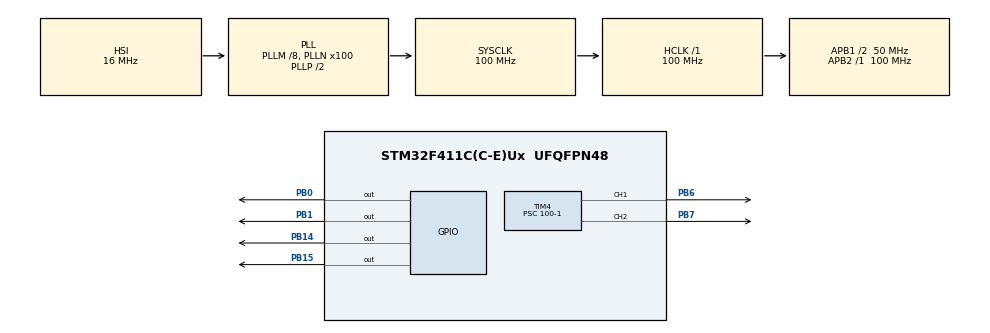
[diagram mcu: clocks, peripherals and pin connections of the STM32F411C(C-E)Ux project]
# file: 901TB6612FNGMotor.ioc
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Mcu.Family=STM32F4
Mcu.Name=STM32F411C(C-E)Ux
Mcu.Package=UFQFPN48
NVIC.PriorityGroup=NVIC_PRIORITYGROUP_4
PA13.Mode=Serial_Wire
PA13.Signal=SYS_JTMS-SWDIO
PA14.Mode=Serial_Wire
PA14.Signal=SYS_JTCK-SWCLK
PB0.Signal=GPIO_Output
PB1.Signal=GPIO_Output
PB14.Signal=GPIO_Output
PB15.Signal=GPIO_Output
PB6.Signal=S_TIM4_CH1
PB7.Signal=S_TIM4_CH2
ProjectManager.HeapSize=0x200
ProjectManager.StackSize=0x400
ProjectManager.TargetToolchain=STM32CubeIDE
RCC.48MHZClocksFreq_Value=50000000
RCC.AHBFreq_Value=100000000
RCC.APB1CLKDivider=RCC_HCLK_DIV2
RCC.APB1Freq_Value=50000000
RCC.APB1TimFreq_Value=100000000
RCC.APB2Freq_Value=100000000
RCC.APB2TimFreq_Value=100000000
RCC.CortexFreq_Value=100000000
RCC.HCLKFreq_Value=100000000
RCC.HSE_VALUE=25000000
RCC.HSI_VALUE=16000000
RCC.LSE_VALUE=32768
RCC.PLLM=8
RCC.PLLN=100
RCC.SYSCLKFreq_VALUE=100000000
RCC.SYSCLKSource=RCC_SYSCLKSOURCE_PLLCLK
RCC.VCOOutputFreq_Value=200000000
SH.S_TIM4_CH1.0=TIM4_CH1,PWM Generation1 CH1
SH.S_TIM4_CH2.0=TIM4_CH2,PWM Generation2 CH2
TIM4.AutoReloadPreload=TIM_AUTORELOAD_PRELOAD_ENABLE
TIM4.Channel-PWM\ Generation1\ CH1=TIM_CHANNEL_1
TIM4.Channel-PWM\ Generation2\ CH2=TIM_CHANNEL_2
TIM4.Period=20000-1
TIM4.Prescaler=100-1
VP_TIM4_VS_ClockSourceINT.Mode=Internal
board=custom

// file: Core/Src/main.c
/* USER CODE BEGIN Header */
/**
  ******************************************************************************
  * @file           : main.c
  * @brief          : Main program body
  ******************************************************************************
  * @attention
  *
  * Copyright (c) 2025 STMicroelectronics.
  * All rights reserved.
  *
  * This software is licensed under terms that can be found in the LICENSE file
  * in the root directory of this software component.
  * If no LICENSE file comes with this software, it is provided AS-IS.
  *
  ******************************************************************************
  */
/* USER CODE END Header */
#include "main.h"

TIM_HandleTypeDef htim4;

void SystemClock_Config(void);
static void MX_GPIO_Init(void);
static void MX_TIM4_Init(void);

/* USER CODE BEGIN 0 */
/**
 * @brief Controla el motor derecho.
 * @param velocidad: de -100 (marcha atrás) a 100 (hacia adelante). 0 para frenar.
 */
#define MIN_FREQ 500
#define MAX_FREQ 20000
uint32_t map_esc_values(uint32_t au32_IN, uint32_t au32_INmin, uint32_t au32_INmax, uint32_t au32_OUTmin, uint32_t au32_OUTmax)
{
    return ((((au32_IN - au32_INmin)*(au32_OUTmax - au32_OUTmin))/(au32_INmax - au32_INmin)) + au32_OUTmin);
}

void motor_derecho(int velocidad)
{
  if (velocidad > 0) // Hacia adelante
  {
    HAL_GPIO_WritePin(GPIOB, GPIO_PIN_1, GPIO_PIN_SET);   // AIN1 HIGH
    HAL_GPIO_WritePin(GPIOB, GPIO_PIN_0, GPIO_PIN_RESET); // AIN2 LOW
  }
  else if (velocidad < 0) // Marcha atrás
  {
    HAL_GPIO_WritePin(GPIOB, GPIO_PIN_1, GPIO_PIN_RESET); // AIN1 LOW
    HAL_GPIO_WritePin(GPIOB, GPIO_PIN_0, GPIO_PIN_SET);   // AIN2 HIGH
  }
  else // Frenar
  {
    HAL_GPIO_WritePin(GPIOB, GPIO_PIN_1, GPIO_PIN_SET);   // AIN1 HIGH
    HAL_GPIO_WritePin(GPIOB, GPIO_PIN_0, GPIO_PIN_SET);   // AIN2 HIGH
  }

//   Calculamos el valor del pulso (0-99) basado en la velocidad (0-100)
  uint32_t pulso = map_esc_values(abs(velocidad), 0, 100, MIN_FREQ, MAX_FREQ);
  __HAL_TIM_SET_COMPARE(&htim4, TIM_CHANNEL_1, pulso);
//  TIM4->CCR1 = map_esc_values(velocidad, 0, 100, 0, 6545); // Map The ADC Reading To PWM DutyCycle
}

/**
 * @brief Controla el motor izquierdo.
 * @param velocidad: de -100 (marcha atrás) a 100 (hacia adelante). 0 para frenar.
 */
void motor_izquierdo(int velocidad)
{
  if (velocidad > 0) // Hacia adelante
  {
    HAL_GPIO_WritePin(GPIOB, GPIO_PIN_15, GPIO_PIN_SET);   // BIN1 HIGH
    HAL_GPIO_WritePin(GPIOB, GPIO_PIN_14, GPIO_PIN_RESET); // BIN2 LOW
  }
  else if (velocidad < 0) // Marcha atrás
  {
    HAL_GPIO_WritePin(GPIOB, GPIO_PIN_15, GPIO_PIN_RESET); // BIN1 LOW
    HAL_GPIO_WritePin(GPIOB, GPIO_PIN_14, GPIO_PIN_SET);   // BIN2 HIGH
  }
  else // Frenar
  {
    HAL_GPIO_WritePin(GPIOB, GPIO_PIN_15, GPIO_PIN_SET);   // BIN1 HIGH
    HAL_GPIO_WritePin(GPIOB, GPIO_PIN_14, GPIO_PIN_SET);   // BIN2 HIGH
  }

  uint32_t pulso = map_esc_values(abs(velocidad), 0, 100, MIN_FREQ, MAX_FREQ);
  __HAL_TIM_SET_COMPARE(&htim4, TIM_CHANNEL_2, pulso);
}
/* USER CODE END 0 */

int main(void)
{

  /* MCU Configuration--------------------------------------------------------*/

  /* Reset of all peripherals, Initializes the Flash interface and the Systick. */
  HAL_Init();

  /* Configure the system clock */
  SystemClock_Config();

  /* Initialize all configured peripherals */
  MX_GPIO_Init();
  MX_TIM4_Init();

  /* Infinite loop */
  /* USER CODE BEGIN WHILE */
  HAL_TIM_PWM_Start(&htim4, TIM_CHANNEL_1);
  HAL_TIM_PWM_Start(&htim4, TIM_CHANNEL_2);

  while (1)
  {

    // Avanzar a media velocidad durante 2 segundos
    motor_derecho(50);
    motor_izquierdo(50);
    HAL_Delay(2000);

    // Frenar durante 1 segundo
    motor_derecho(0);
    motor_izquierdo(0);
    HAL_Delay(1000);

    // Retroceder a máxima velocidad durante 2 segundos
    motor_derecho(-100);
    motor_izquierdo(-100);
    HAL_Delay(2000);

    // Girar sobre el eje durante 1 segundo
    motor_derecho(75);
    motor_izquierdo(-75);
    HAL_Delay(1000);

    // Frenar durante 1 segundo
    motor_derecho(0);
    motor_izquierdo(0);
    HAL_Delay(1000);
    /* USER CODE END WHILE */

  }
}

void SystemClock_Config(void)
{
  RCC_OscInitTypeDef RCC_OscInitStruct = {0};
  RCC_ClkInitTypeDef RCC_ClkInitStruct = {0};

  /** Configure the main internal regulator output voltage
  */
  __HAL_RCC_PWR_CLK_ENABLE();
  __HAL_PWR_VOLTAGESCALING_CONFIG(PWR_REGULATOR_VOLTAGE_SCALE1);

  /** Initializes the RCC Oscillators according to the specified parameters
  * in the RCC_OscInitTypeDef structure.
  */
  RCC_OscInitStruct.OscillatorType = RCC_OSCILLATORTYPE_HSI;
  RCC_OscInitStruct.HSIState = RCC_HSI_ON;
  RCC_OscInitStruct.HSICalibrationValue = RCC_HSICALIBRATION_DEFAULT;
  RCC_OscInitStruct.PLL.PLLState = RCC_PLL_ON;
  RCC_OscInitStruct.PLL.PLLSource = RCC_PLLSOURCE_HSI;
  RCC_OscInitStruct.PLL.PLLM = 8;
  RCC_OscInitStruct.PLL.PLLN = 100;
  RCC_OscInitStruct.PLL.PLLP = RCC_PLLP_DIV2;
  RCC_OscInitStruct.PLL.PLLQ = 4;
  if (HAL_RCC_OscConfig(&RCC_OscInitStruct) != HAL_OK)
  {
    Error_Handler();
  }

  /** Initializes the CPU, AHB and APB buses clocks
  */
  RCC_ClkInitStruct.ClockType = RCC_CLOCKTYPE_HCLK|RCC_CLOCKTYPE_SYSCLK
                              |RCC_CLOCKTYPE_PCLK1|RCC_CLOCKTYPE_PCLK2;
  RCC_ClkInitStruct.SYSCLKSource = RCC_SYSCLKSOURCE_PLLCLK;
  RCC_ClkInitStruct.AHBCLKDivider = RCC_SYSCLK_DIV1;
  RCC_ClkInitStruct.APB1CLKDivider = RCC_HCLK_DIV2;
  RCC_ClkInitStruct.APB2CLKDivider = RCC_HCLK_DIV1;

  if (HAL_RCC_ClockConfig(&RCC_ClkInitStruct, FLASH_LATENCY_3) != HAL_OK)
  {
    Error_Handler();
  }
}

static void MX_TIM4_Init(void)
{

  TIM_ClockConfigTypeDef sClockSourceConfig = {0};
  TIM_MasterConfigTypeDef sMasterConfig = {0};
  TIM_OC_InitTypeDef sConfigOC = {0};

  htim4.Instance = TIM4;
  htim4.Init.Prescaler = 100-1;
  htim4.Init.CounterMode = TIM_COUNTERMODE_UP;
  htim4.Init.Period = 50000-1;
  htim4.Init.ClockDivision = TIM_CLOCKDIVISION_DIV1;
  htim4.Init.AutoReloadPreload = TIM_AUTORELOAD_PRELOAD_ENABLE;
  if (HAL_TIM_Base_Init(&htim4) != HAL_OK)
  {
    Error_Handler();
  }
  sClockSourceConfig.ClockSource = TIM_CLOCKSOURCE_INTERNAL;
  if (HAL_TIM_ConfigClockSource(&htim4, &sClockSourceConfig) != HAL_OK)
  {
    Error_Handler();
  }
  if (HAL_TIM_PWM_Init(&htim4) != HAL_OK)
  {
    Error_Handler();
  }
  sMasterConfig.MasterOutputTrigger = TIM_TRGO_RESET;
  sMasterConfig.MasterSlaveMode = TIM_MASTERSLAVEMODE_DISABLE;
  if (HAL_TIMEx_MasterConfigSynchronization(&htim4, &sMasterConfig) != HAL_OK)
  {
    Error_Handler();
  }
  sConfigOC.OCMode = TIM_OCMODE_PWM1;
  sConfigOC.Pulse = 0;
  sConfigOC.OCPolarity = TIM_OCPOLARITY_HIGH;
  sConfigOC.OCFastMode = TIM_OCFAST_DISABLE;
  if (HAL_TIM_PWM_ConfigChannel(&htim4, &sConfigOC, TIM_CHANNEL_1) != HAL_OK)
  {
    Error_Handler();
  }
  if (HAL_TIM_PWM_ConfigChannel(&htim4, &sConfigOC, TIM_CHANNEL_2) != HAL_OK)
  {
    Error_Handler();
  }
  HAL_TIM_MspPostInit(&htim4);

}

static void MX_GPIO_Init(void)
{
  GPIO_InitTypeDef GPIO_InitStruct = {0};

  /* GPIO Ports Clock Enable */
  __HAL_RCC_GPIOB_CLK_ENABLE();
  __HAL_RCC_GPIOA_CLK_ENABLE();

  /*Configure GPIO pin Output Level */
  HAL_GPIO_WritePin(GPIOB, GPIO_PIN_0|GPIO_PIN_1|GPIO_PIN_14|GPIO_PIN_15, GPIO_PIN_RESET);

  /*Configure GPIO pins : PB0 PB1 PB14 PB15 */
  GPIO_InitStruct.Pin = GPIO_PIN_0|GPIO_PIN_1|GPIO_PIN_14|GPIO_PIN_15;
  GPIO_InitStruct.Mode = GPIO_MODE_OUTPUT_PP;
  GPIO_InitStruct.Pull = GPIO_NOPULL;
  GPIO_InitStruct.Speed = GPIO_SPEED_FREQ_LOW;
  HAL_GPIO_Init(GPIOB, &GPIO_InitStruct);

}

void Error_Handler(void)
{
  __disable_irq();
  while (1)
  {
  }
}
